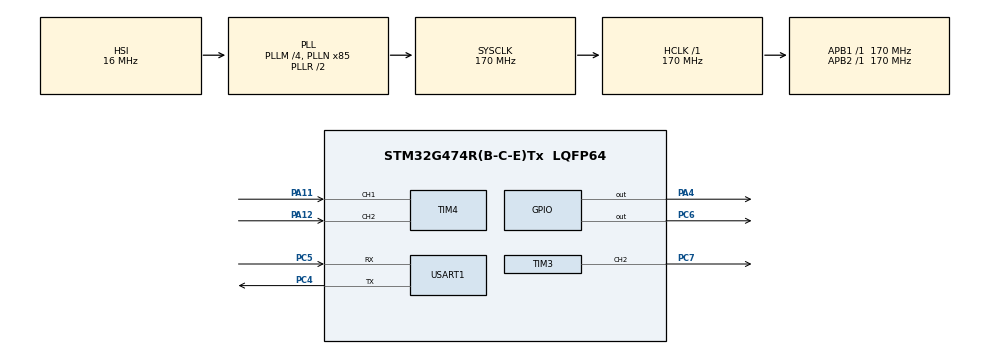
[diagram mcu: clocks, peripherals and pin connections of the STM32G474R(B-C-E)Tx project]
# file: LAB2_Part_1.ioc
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ARM.CMSIS.5.7.0.CMSISJjCORE=true
ARM.CMSIS.5.7.0.CMSISJjDSP=Library
Mcu.Family=STM32G4
Mcu.Name=STM32G474R(B-C-E)Tx
Mcu.Package=LQFP64
NVIC.PriorityGroup=NVIC_PRIORITYGROUP_4
NVIC.TIM2_IRQn=true\:0\:0\:false\:false\:true\:true\:true\:true
PA11.Signal=S_TIM4_CH1
PA12.Signal=S_TIM4_CH2
PA13.GPIO_Label=T_SWDIO
PA13.Mode=Serial_Wire
PA13.Signal=SYS_JTMS-SWDIO
PA14.GPIO_Label=T_SWCLK
PA14.Mode=Serial_Wire
PA14.Signal=SYS_JTCK-SWCLK
PA2.GPIO_Label=LPUART1_TX [STLINKV3E_VCP_RX]
PA2.Signal=LPUART1_TX
PA3.GPIO_Label=LPUART1_RX [STLINKV3E_VCP_TX]
PA3.Signal=LPUART1_RX
PA4.Signal=GPIO_Output
PB3.GPIO_Label=T_SWO
PB3.Signal=SYS_JTDO-SWO
PC14-OSC32_IN.GPIO_Label=RCC_OSC32_IN
PC14-OSC32_IN.Signal=RCC_OSC32_IN
PC15-OSC32_OUT.GPIO_Label=RCC_OSC32_OUT
PC15-OSC32_OUT.Signal=RCC_OSC32_OUT
PC4.Mode=Asynchronous
PC4.Signal=USART1_TX
PC5.Mode=Asynchronous
PC5.Signal=USART1_RX
PC6.Signal=GPIO_Output
PC7.Signal=S_TIM3_CH2
PF0-OSC_IN.GPIO_Label=RCC_OSC_IN
PF0-OSC_IN.Signal=RCC_OSC_IN
PF1-OSC_OUT.GPIO_Label=RCC_OSC_OUT
PF1-OSC_OUT.Signal=RCC_OSC_OUT
ProjectManager.HeapSize=0x200
ProjectManager.StackSize=0x400
ProjectManager.TargetToolchain=STM32CubeIDE
RCC.ADC12Freq_Value=170000000
RCC.ADC345Freq_Value=170000000
RCC.AHBFreq_Value=170000000
RCC.APB1Freq_Value=170000000
RCC.APB1TimFreq_Value=170000000
RCC.APB2Freq_Value=170000000
RCC.APB2TimFreq_Value=170000000
RCC.CortexFreq_Value=170000000
RCC.EXTERNAL_CLOCK_VALUE=12288000
RCC.HCLKFreq_Value=170000000
RCC.HSE_VALUE=24000000
RCC.HSI48_VALUE=48000000
RCC.HSI_VALUE=16000000
RCC.LSE_VALUE=32768
RCC.PLLM=RCC_PLLM_DIV4
RCC.PLLN=85
RCC.RTCClockSelection=RCC_RTCCLKSOURCE_LSE
RCC.SYSCLKFreq_VALUE=170000000
RCC.SYSCLKSource=RCC_SYSCLKSOURCE_PLLCLK
RCC.USBFreq_Value=170000000
RCC.VCOOutputFreq_Value=340000000
SH.S_TIM3_CH2.0=TIM3_CH2,PWM Generation2 CH2
SH.S_TIM4_CH1.0=TIM4_CH1,Encoder_Interface
SH.S_TIM4_CH2.0=TIM4_CH2,Encoder_Interface
TIM2.PeriodNoDither=9999
TIM2.Prescaler=169
TIM3.Channel-PWM\ Generation2\ CH2=TIM_CHANNEL_2
TIM3.Prescaler=16999
TIM4.EncoderMode=TIM_ENCODERMODE_TI12
USART1.VirtualMode-Asynchronous=VM_ASYNC
VP_ARM.CMSIS_VS_CMSISJjCORE_5.4.0_5.7.0.Mode=CMSISJjCORE
VP_ARM.CMSIS_VS_CMSISJjDSP_1.8.0_5.7.0.Mode=CMSISJjDSP
VP_SYS_VS_DBSignals.Mode=DisableDeadBatterySignals
VP_TIM2_VS_ClockSourceINT.Mode=Internal
VP_TIM3_VS_ClockSourceINT.Mode=Internal
board=NUCLEO-G474RE

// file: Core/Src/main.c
/* USER CODE BEGIN Header */
/**
  ******************************************************************************
  * @file           : main.c
  * @brief          : Main program body
  ******************************************************************************
  * @attention
  *
  * Copyright (c) 2026 STMicroelectronics.
  * All rights reserved.
  *
  * This software is licensed under terms that can be found in the LICENSE file
  * in the root directory of this software component.
  * If no LICENSE file comes with this software, it is provided AS-IS.
  *
  ******************************************************************************
  */
/* USER CODE END Header */
#include "main.h"
#include "tim.h"
#include "usart.h"
#include "gpio.h"

/* USER CODE BEGIN Includes */
#include <arm_math.h>
/* USER CODE END Includes */

/* USER CODE BEGIN PV */
/* ตัวแปร Global สำหรับ CubeMonitor */
float32_t V_in = 0.0f;
float32_t Wm_sim = 0.0f;
float32_t Wm_real = 0.0f;

/* ตัวแปร State สำหรับ Difference Equation */
float32_t V_in_n2 = 0.0f;
float32_t Wm_n1 = 0.0f;
float32_t Wm_n2 = 0.0f;

/* Parameters ของมอเตอร์ */
float32_t Rm = 1.0f;
float32_t Lm = 0.5f;
float32_t Bm = 0.1f;
float32_t J  = 0.05f;
float32_t Km = 0.01f;
float32_t Ke = 0.01f;

/* ตัวแปรระบบ */
float32_t dt = 0.01f;
float32_t t = 0.0f;
int input_type = 1;

/* ตัวแปรสำหรับ Encoder */
int32_t encoder_count = 0;
int32_t prev_encoder_count = 0;

/* ค่าคงที่สำหรับสมการ */
float32_t term1, term2, term3;
/* USER CODE END PV */

void SystemClock_Config(void);

/* USER CODE BEGIN 0 */
void Init_Motor_Coefficients(void) {
    float32_t Lm_J = Lm * J;
    term1 = (Km * dt * dt) / Lm_J;

    float32_t term2_num = (Rm * Bm + Ke * Km) * (dt * dt) + (-Lm * Bm - Rm * J) * dt + Lm_J;
    term2 = term2_num / Lm_J;

    float32_t term3_num = (Lm * Bm + Rm * J) * dt - (2.0f * Lm_J);
    term3 = term3_num / Lm_J;
}
/* USER CODE END 0 */

int main(void)
{

  /* MCU Configuration--------------------------------------------------------*/

  /* Reset of all peripherals, Initializes the Flash interface and the Systick. */
  HAL_Init();

  /* Configure the system clock */
  SystemClock_Config();

  /* Initialize all configured peripherals */
  MX_GPIO_Init();
  MX_TIM2_Init();
  MX_TIM3_Init();
  MX_TIM4_Init();
  MX_USART1_UART_Init();
  /* USER CODE BEGIN 2 */
  Init_Motor_Coefficients();

    HAL_TIM_Base_Start_IT(&htim2);
    HAL_TIM_PWM_Start(&htim3, TIM_CHANNEL_2);
    HAL_TIM_Encoder_Start(&htim4, TIM_CHANNEL_ALL);
  /* USER CODE END 2 */

  /* Infinite loop */
  while (1)
  {

  }
}

void SystemClock_Config(void)
{
  RCC_OscInitTypeDef RCC_OscInitStruct = {0};
  RCC_ClkInitTypeDef RCC_ClkInitStruct = {0};

  /** Configure the main internal regulator output voltage
  */
  HAL_PWREx_ControlVoltageScaling(PWR_REGULATOR_VOLTAGE_SCALE1_BOOST);

  /** Initializes the RCC Oscillators according to the specified parameters
  * in the RCC_OscInitTypeDef structure.
  */
  RCC_OscInitStruct.OscillatorType = RCC_OSCILLATORTYPE_HSI;
  RCC_OscInitStruct.HSIState = RCC_HSI_ON;
  RCC_OscInitStruct.HSICalibrationValue = RCC_HSICALIBRATION_DEFAULT;
  RCC_OscInitStruct.PLL.PLLState = RCC_PLL_ON;
  RCC_OscInitStruct.PLL.PLLSource = RCC_PLLSOURCE_HSI;
  RCC_OscInitStruct.PLL.PLLM = RCC_PLLM_DIV4;
  RCC_OscInitStruct.PLL.PLLN = 85;
  RCC_OscInitStruct.PLL.PLLP = RCC_PLLP_DIV2;
  RCC_OscInitStruct.PLL.PLLQ = RCC_PLLQ_DIV2;
  RCC_OscInitStruct.PLL.PLLR = RCC_PLLR_DIV2;
  if (HAL_RCC_OscConfig(&RCC_OscInitStruct) != HAL_OK)
  {
    Error_Handler();
  }

  /** Initializes the CPU, AHB and APB buses clocks
  */
  RCC_ClkInitStruct.ClockType = RCC_CLOCKTYPE_HCLK|RCC_CLOCKTYPE_SYSCLK
                              |RCC_CLOCKTYPE_PCLK1|RCC_CLOCKTYPE_PCLK2;
  RCC_ClkInitStruct.SYSCLKSource = RCC_SYSCLKSOURCE_PLLCLK;
  RCC_ClkInitStruct.AHBCLKDivider = RCC_SYSCLK_DIV1;
  RCC_ClkInitStruct.APB1CLKDivider = RCC_HCLK_DIV1;
  RCC_ClkInitStruct.APB2CLKDivider = RCC_HCLK_DIV1;

  if (HAL_RCC_ClockConfig(&RCC_ClkInitStruct, FLASH_LATENCY_4) != HAL_OK)
  {
    Error_Handler();
  }
}

/* USER CODE BEGIN 4 */
void HAL_TIM_PeriodElapsedCallback(TIM_HandleTypeDef *htim) {
    if (htim->Instance == TIM2) {

        // 1. สร้างสัญญาณ Input
        if (input_type == 1) {
            V_in = 12.0f * arm_sin_f32(2.0f * PI * 1.0f * t);
        } else if (input_type == 2) {
            if (t >= 1.0f) {
                V_in = 1.0f * (t - 1.0f);
            } else {
                V_in = 0.0f;
            }
        }

        if (V_in > 12.0f) V_in = 12.0f;
        if (V_in < -12.0f) V_in = -12.0f;

        // 2. คำนวณ HIL Simulation
        Wm_sim = (term1 * V_in_n2) - (term2 * Wm_n2) - (term3 * Wm_n1);

        V_in_n2 = V_in;
        Wm_n2 = Wm_n1;
        Wm_n1 = Wm_sim;

        // 3. ควบคุมมอเตอร์จริง
        uint32_t ARR_Value = __HAL_TIM_GET_AUTORELOAD(&htim3);
        float32_t abs_V_in = (V_in < 0.0f) ? -V_in : V_in;
        uint32_t duty_cycle = (uint32_t)((abs_V_in / 12.0f) * (float32_t)ARR_Value);

        __HAL_TIM_SET_COMPARE(&htim3, TIM_CHANNEL_1, duty_cycle);

        if (V_in >= 0.0f) {
            HAL_GPIO_WritePin(GPIOC, GPIO_PIN_6, GPIO_PIN_SET);
            HAL_GPIO_WritePin(GPIOA, GPIO_PIN_2, GPIO_PIN_RESET);
        } else {
            HAL_GPIO_WritePin(GPIOC, GPIO_PIN_6, GPIO_PIN_RESET);
            HAL_GPIO_WritePin(GPIOA, GPIO_PIN_2, GPIO_PIN_SET);
        }

        // 4. อ่านค่าความเร็วมอเตอร์จริง
        encoder_count = (int32_t)__HAL_TIM_GET_COUNTER(&htim4);
        int32_t delta_count = encoder_count - prev_encoder_count;

        if (delta_count > 32767) delta_count -= 65536;
        else if (delta_count < -32768) delta_count += 65536;

        float32_t PPR = 1000.0f; // เปลี่ยนค่าตามสเปค Encoder จริง
        Wm_real = ((float32_t)delta_count / PPR) * (2.0f * PI) / dt;

        prev_encoder_count = encoder_count;
        t += dt;
    }
}
/* USER CODE END 4 */

void Error_Handler(void)
{
  __disable_irq();
  while (1)
  {
  }
}
